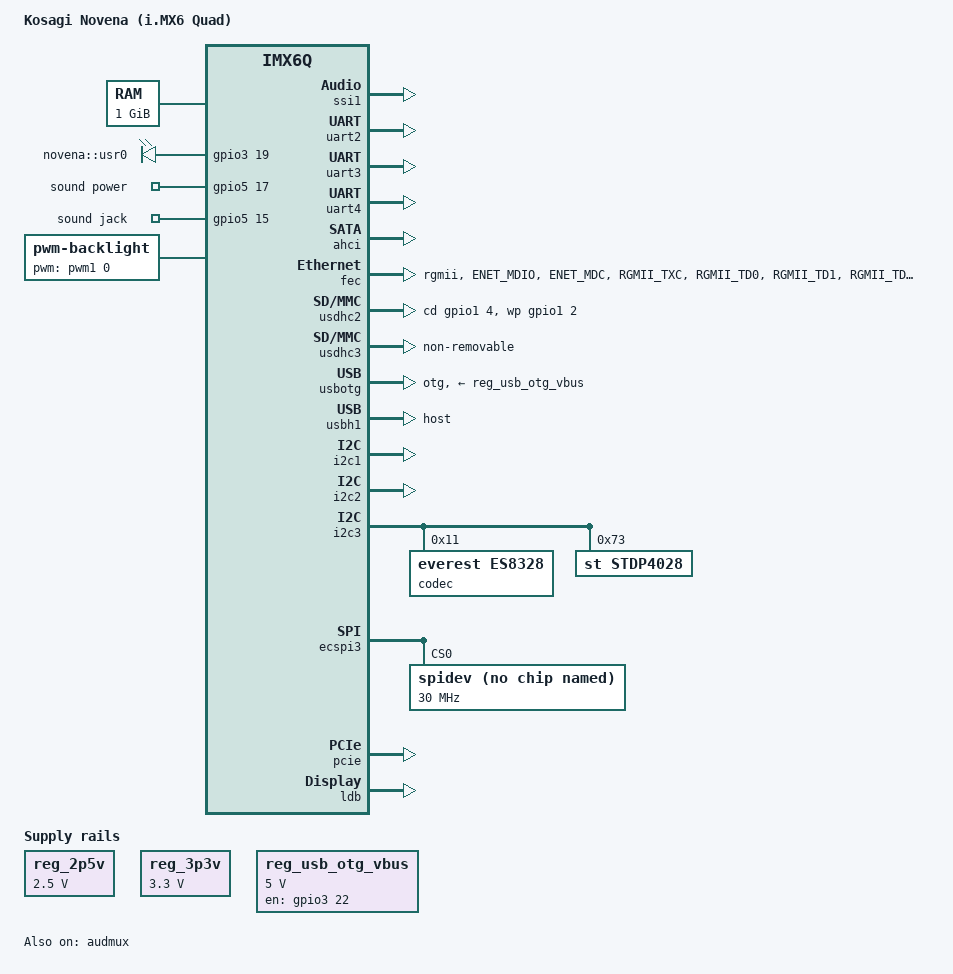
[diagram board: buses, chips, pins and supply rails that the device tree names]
/*
 * Copyright 2012 Freescale Semiconductor, Inc.
 * Copyright 2011 Linaro Ltd.
 *
 * The code contained herein is licensed under the GNU General Public
 * License. You may obtain a copy of the GNU General Public License
 * Version 2 or later at the following locations:
 *
 * http://www.opensource.org/licenses/gpl-license.html
 * http://www.gnu.org/copyleft/gpl.html
 */

/dts-v1/;
#include "imx6q.dtsi"

/ {
	model = "Kosagi Novena (i.MX6 Quad)";
	compatible = "fsl,imx6q-novena", "fsl,imx6q";
        chosen {
                bootargs = "console=ttymxc1,115200 earlyprintk root=/dev/mmcblk0p2 rootwait rootfstype=ext4";
        };

	memory {
		reg = <0x10000000 0x40000000>;
	};

	regulators {
		compatible = "simple-bus";

		reg_2p5v: 2p5v {
			compatible = "regulator-fixed";
			regulator-name = "2P5V";
			regulator-min-microvolt = <2500000>;
			regulator-max-microvolt = <2500000>;
			regulator-always-on;
		};

		reg_3p3v: 3p3v {
			compatible = "regulator-fixed";
			regulator-name = "3P3V";
			regulator-min-microvolt = <3300000>;
			regulator-max-microvolt = <3300000>;
			regulator-always-on;
		};

		reg_usb_otg_vbus: usb_otg_vbus {
			compatible = "regulator-fixed";
			regulator-name = "usb_otg_vbus";
			regulator-min-microvolt = <5000000>;
			regulator-max-microvolt = <5000000>;
			gpio = <&gpio3 22 0>;
			enable-active-high;
		};
	};

	leds {
		compatible = "gpio-leds";
		heartbeat {
			label = "novena::usr0";
			gpios = <&gpio3 19 0>;
			linux,default-trigger = "heartbeat";
		};
	};

	sound {
		compatible = "fsl,imx-audio-novena";
		model = "imx-audio-novena";
		clocks = <&clks 169>, <&clks 57>, <&clks 173>;
		clock-names = "cko1", "cko1_sel", "pll4_audio";
		ssi-controller = <&ssi1>;
		audio-codec = <&codec>;
		power-gpio = <&gpio5 17 0>;
		jack-gpio = <&gpio5 15 0>;
		audio-routing =
			"MIC_IN", "Mic Jack",
			"Mic Jack", "Mic Bias",
			"Headphone Jack", "HP_OUT",
			"Ext Spk", "SPK_OUT";
		mux-int-port = <1>;
		mux-ext-port = <3>;
	};

	soc {
		galcore: vivante@0x00130000 {
			compatible = "fsl,imx6q-gpu";
			interrupts = <0 9 0x4    0 10 0x4    0 11 0x4>;
			interrupt-names = "irq_3d", "irq_2d", "irq_vg";
			clocks = <&clks 122>, <&clks 27>, <&clks 74>,
				 <&clks 121>, <&clks 26>,
				 <&clks 143>;
			clock-names = "gpu3d_clk", "gpu3d_axi_clk", "gpu3d_shader_clk",
				      "gpu2d_clk", "gpu2d_axi_clk",
				      "openvg_axi_clk";
			reg = <0 0x4000  0x00130000 0x4000  0x00134000 0x4000  0x02204000 0x4000>;
			reg-names = "phys_baseaddr", "iobase_3d", "iobase_2d", "iobase_vg";
			contiguoussize = <0x0c000000>;
			contiguousbase = <0x40000000>;
		};
	};

        backlight {
                compatible = "pwm-backlight";
                pwms = <&pwm1 0 10000>;

                brightness-levels = <0 3 6 12 16 24 32 48 64 96 128 192 255>;
                default-brightness-level = <12>;
        };
};


&ssi1 {
	fsl,mode = "i2s-slave";
	status = "okay";
};

&uart2 {
	status = "okay";
	pinctrl-names = "default";
	pinctrl-0 = <&pinctrl_uart2_1>;
};

&uart3 {
	status = "okay";
	pinctrl-names = "default";
	pinctrl-0 = <&pinctrl_uart3_1>;
};

&uart4 {
	status = "okay";
	pinctrl-names = "default";
	pinctrl-0 = <&pinctrl_uart4_1>;
};

&ahci {
	status = "okay";
};

&iomuxc {
	pinctrl-names = "default";
	pinctrl-0 = <&pinctrl_hog>;

	hog {
		pinctrl_hog: hoggrp {
			fsl,pins = <
				MX6Q_PAD_SD3_DAT5__GPIO7_IO00 0x80000000
				MX6Q_PAD_SD3_DAT4__GPIO7_IO01 0x1f0b0

				/* uSDHC2 */
				MX6Q_PAD_GPIO_2__GPIO1_IO02   0x80000000 /* Write protect */
				MX6Q_PAD_GPIO_4__GPIO1_IO04   0x80000000 /* Card detect */

				/* Ethernet reset */
				MX6Q_PAD_EIM_D23__GPIO3_IO23  0x80000000

				/* Headphone plug */
				MX6Q_PAD_DISP0_DAT21__GPIO5_IO15 0x80000000
				MX6Q_PAD_GPIO_0__CCM_CLKO1       0x80000000

				/* Touchscreen interrupt */
				MX6Q_PAD_DISP0_DAT19__GPIO5_IO13 0x80000000

				/* GPIO LED */
				MX6Q_PAD_EIM_D19__GPIO3_IO19  0x80000000

				/* Backlight PWM */
				MX6Q_PAD_DISP0_DAT8__PWM1_OUT 0x80000000

				/* PCI express */
				MX6Q_PAD_EIM_D22__GPIO3_IO22  0x80000000 /* Wakeup */
				MX6Q_PAD_EIM_D29__GPIO3_IO29  0x80000000 /* Reset */
				MX6Q_PAD_GPIO_17__GPIO7_IO12  0x80000000 /* Power On */
				MX6Q_PAD_EIM_A22__GPIO2_IO16  0x80000000 /* Wifi kill */

				/* FPGA power */
				MX6Q_PAD_SD1_DAT1__GPIO1_IO17 0x80000000
			>;
		};
	};

	enet {
		pinctrl_enet_novena: enetgrp-novena {
			fsl,pins = <
				MX6Q_PAD_ENET_MDIO__ENET_MDIO       0x1b0b0
				MX6Q_PAD_ENET_MDC__ENET_MDC         0x1b0b0
				MX6Q_PAD_RGMII_TXC__RGMII_TXC_DDR3  0x1b020
				MX6Q_PAD_RGMII_TD0__RGMII_TD0       0x1b028
				MX6Q_PAD_RGMII_TD1__RGMII_TD1       0x1b028
				MX6Q_PAD_RGMII_TD2__RGMII_TD2       0x1b028
				MX6Q_PAD_RGMII_TD3__RGMII_TD3       0x1b028
				MX6Q_PAD_RGMII_TX_CTL__RGMII_TX_CTL 0x1b028
				MX6Q_PAD_ENET_REF_CLK__ENET_TX_CLK  0x1b0b0
				MX6Q_PAD_RGMII_RXC__RGMII_RXC       0x1b0b0
				MX6Q_PAD_RGMII_RD0__RGMII_RD0       0x1b0b0
				MX6Q_PAD_RGMII_RD1__RGMII_RD1       0x1b0b0
				MX6Q_PAD_RGMII_RD2__RGMII_RD2       0x1b0b0
				MX6Q_PAD_RGMII_RD3__RGMII_RD3       0x1b0b0
				MX6Q_PAD_RGMII_RX_CTL__RGMII_RX_CTL 0x1b0b0
				MX6Q_PAD_GPIO_16__ENET_REF_CLK      0x4001b0a8
			>;
		};
	};
};


&fec {
	pinctrl-names = "default";
        pinctrl-0 = <&pinctrl_enet_novena>;
	phy-mode = "rgmii";
        phy-reset-gpios = <&gpio3 23 0>;
	mac-address = [00 0E C6 87 72 01];
	status = "okay";
	micrel,clk-skew = <0xf0f0>;
	micrel,rx-skew = <0x0000>;
	micrel,tx-skew = <0xffff>;
};

&usdhc2 {
	pinctrl-names = "default";
	pinctrl-0 = <&pinctrl_usdhc2_1>;
	cd-gpios = <&gpio1 4 0>;
	wp-gpios = <&gpio1 2 0>;
	status = "okay";
};

&usdhc3 {
	pinctrl-names = "default";
	pinctrl-0 = <&pinctrl_usdhc3_2>;
	non-removable;
	status = "okay";
};

&usbotg {
	vbus-supply = <&reg_usb_otg_vbus>;
	pinctrl-names = "default";
//	pinctrl-0 = <&pinctrl_usbotg_2>;
	disable-over-current;
	otg_id_pin_select_change;
	dr_mode = "otg";
	xobs,devname = "otg";
	status = "okay";
};

&usbh1 {
	xobs,devname = "usbh1";
	dr_mode = "host";
	status = "okay";
};

&audmux {
	status = "okay";
	pinctrl-names = "default";
	pinctrl-0 = <&pinctrl_audmux_2>;
};

&i2c1 {
	pinctrl-names = "default";
	pinctrl-0 = <&pinctrl_i2c1_1>;
	status = "okay";

/*
	stmpe610@0 {
		compatible = "st,stmpe610";
		#address-cells = <1>;
		#size-cells = <0>;
		reg = <0x44>;
		irq-over-gpio;
		irq-gpios = <&gpio5 13 0>;
		id = <0>;
		blocks = <0x5>;
		irq-trigger = <0x1>;

		stmpe_adc {
			compatible = "st,stmpe-adc";
		};
		stmpe_touchscreen {
			compatible = "st,stmpe-ts";
			ts,sample-time = <4>;
			ts,mod-12b = <1>;
			ts,ref-sel = <0>;
			ts,adc-freq = <1>;
			ts,ave-ctrl = <1>;
			ts,touch-det-delay = <2>;
			ts,settling = <2>;
			ts,fraction-z = <7>;
			ts,i-drive = <1>;
		};
	};
*/
};

&i2c2 {
	pinctrl-names = "default";
	pinctrl-0 = <&pinctrl_i2c2_1>;
	status = "okay";
};

&i2c3 {
	pinctrl-names = "default";
	pinctrl-0 = <&pinctrl_i2c3_1>;
	status = "okay";

	codec: es8328@11 {
		compatible = "everest,es8328";
		reg = <0x11>;
	};

	stdp4028@73 {
		compatible = "st,stdp4028";
//		power-switch = <&gpio5 28 0>;
		reg = <0x73>;
	};
};

&ecspi3 {
	pinctrl-names = "default";
	pinctrl-0 = <&pinctrl_ecspi3_1>;
	fsl,spi-num-chipselects = <3>;
	status = "okay";

	spidev@0x00 {
		compatible = "spidev";
		spi-max-frequency = <30000000>;
		reg = <0>;
	};
};

&pcie {
	power-enable = <&gpio7 12 0>;
	pcie-reset = <&gpio3 29 0>;
	wake-up = <&gpio3 22 0>;
//	disable-endpoint = <&gpio2 16 0>;
	status = "okay";
};

&ldb {
	fsl,dual-channel;
	status = "okay";
        lvds-channel@0 {
		fsl,data-mapping = "jeida";
		fsl,data-width = <24>;
		status = "okay";
                display-timings {
			2560x1700p50 {
				clock-frequency = <240000000>;
				hactive = <2560>;
				vactive = <1700>;
				hback-porch = <80>;
				hfront-porch = <48>;
				hsync-len = <32>;
				vback-porch = <36>;
				vfront-porch = <3>;
				vsync-len = <10>;
				hsync-active = <1>;
				vsync-active = <1>;
			};
                };
        };
};


/*
&caam {
	compatible = "fsl,sec-v4.0";
	#address-cells = <1>;
	#size-cells = <1>;
	reg = <0x02100000 0x40000>;
	ranges = <0 0x02100000 0x40000>;

	sec_jr0: jr@1000 {
		compatible = "fsl,sec-v4.0-job-ring";
		reg = <0x100000 0x1000>;
		interrupts = <0 105 0x04>;
	};

	sec_jr1: jr@2000 {
		compatible = "fsl,sec-v4.0-job-ring";
		reg = <0x200000 0x1000>;
		interrupts = <0 106 0x04>;
	};
};
*/


